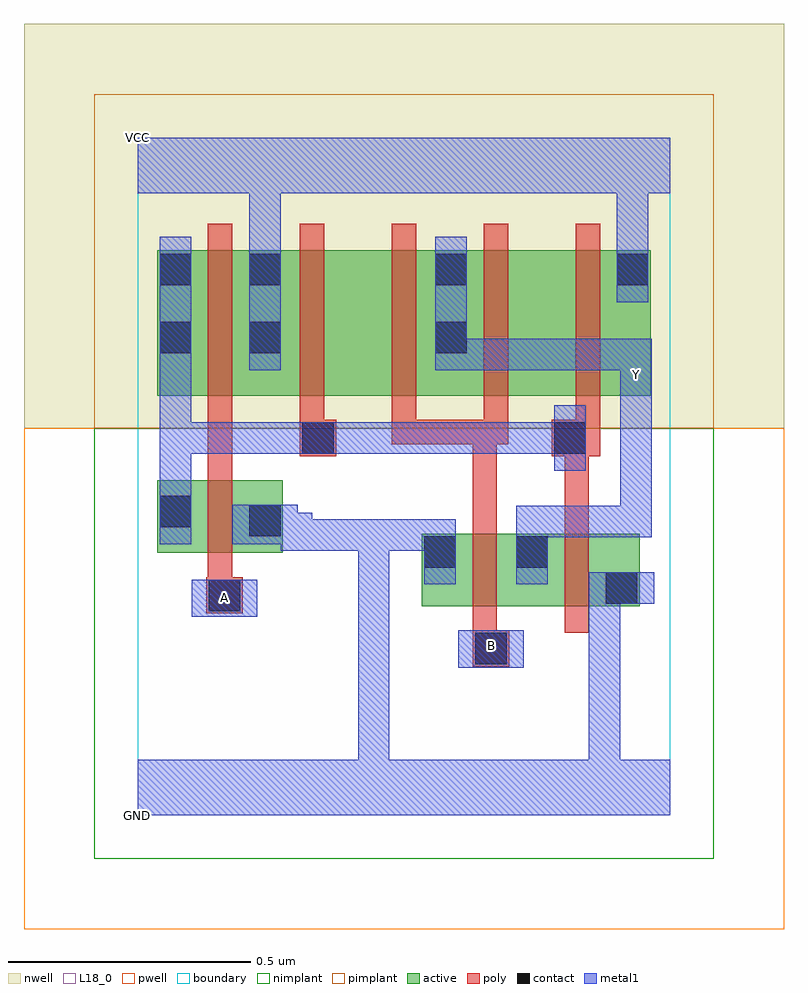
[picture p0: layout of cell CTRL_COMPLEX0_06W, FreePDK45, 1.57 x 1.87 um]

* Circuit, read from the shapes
.subckt CTRL_COMPLEX0_06W A B GND VCC Y
M1 GND A n1 VSUBS nfet w=0.15u l=0.05u
M2 Y B GND VSUBS nfet w=0.15u l=0.05u
M3 GND n1 Y VSUBS nfet w=0.15u l=0.05u
M4 VCC A n1 n2 pfet w=0.3u l=0.05u
M5 n3 n1 VCC n2 pfet w=0.3u l=0.05u
M6 Y B n3 n2 pfet w=0.3u l=0.05u
M7 n4 B Y n2 pfet w=0.3u l=0.05u
M8 VCC n1 n4 n2 pfet w=0.3u l=0.05u
.ends

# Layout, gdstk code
import gdstk
lib = gdstk.Library(unit=1e-6, precision=1e-09)
def R(c, l, rs):  # rectangles x0, y0, x1, y1
    for r in rs: c.add(gdstk.rectangle(r[:2], r[2:], *l))
def A(c, l, x, y, w, h, nx, ny, dx, dy):  # array of equal rectangles
    R(c, l, [(x+i*dx, y+j*dy, x+i*dx+w, y+j*dy+h) for i in range(nx) for j in range(ny)])
active = (1, 0)
pwell = (2, 0)
nwell = (3, 0)
nimplant = (4, 0)
pimplant = (5, 0)
poly = (9, 0)
contact = (10, 0)
metal1 = (11, 0)
L18_0 = (18, 0)
boundary = (235, 0)

ctrl_complex0_06w = lib.new_cell('CTRL_COMPLEX0_06W')
R(ctrl_complex0_06w, active, [(0.587,0.432,0.662,0.582), (0.587,0.432,0.852,0.582), (0.777,0.432,0.852,0.582), (0.777,0.432,1.037,0.582), (0.962,0.432,1.037,0.582), (0.04,0.542,0.115,0.692), (0.04,0.542,0.3,0.692), (0.225,0.542,0.3,0.692), (0.04,0.867,0.3,1.167), (0.04,0.867,0.115,1.165), (0.225,0.867,0.455,1.167), (0.455,0.867,0.685,1.167), (0.61,0.867,0.835,1.167), (0.835,0.867,1.06,1.167), (0.985,0.867,1.06,1.167), (0.225,0.95,0.3,1.165), (0.61,0.95,0.685,1.165)])
R(ctrl_complex0_06w, pwell, [(-0.235,-0.235,1.335,0.8)])
R(ctrl_complex0_06w, nwell, [(-0.235,0.8,1.335,1.635)])
R(ctrl_complex0_06w, nimplant, [(-0.09,-0.09,1.19,0.8)])
R(ctrl_complex0_06w, pimplant, [(-0.09,0.8,1.19,1.49)])
A(ctrl_complex0_06w, poly, 0.335, 0.767, 0.05, 0.095, 4, 1, 0.19, 0)
A(ctrl_complex0_06w, poly, 0.145, 0.812, 0.05, 0.41, 5, 1, 0.19, 0)
R(ctrl_complex0_06w, poly, [(0.692,0.307,0.767,0.382), (0.692,0.332,0.742,0.427), (0.692,0.377,0.742,0.637), (0.882,0.377,0.932,0.637), (0.142,0.417,0.217,0.492), (0.145,0.442,0.195,0.537), (0.145,0.487,0.195,0.747), (0.692,0.587,0.742,0.817), (0.882,0.587,0.932,0.792), (0.145,0.697,0.195,0.792), (0.145,0.742,0.195,0.792), (0.145,0.742,0.195,0.862), (0.335,0.742,0.41,0.817), (0.855,0.742,0.955,0.817), (0.525,0.767,0.575,0.817), (0.525,0.767,0.742,0.817), (0.692,0.767,0.742,0.817), (0.692,0.767,0.742,0.817), (0.692,0.767,0.765,0.817)])
R(ctrl_complex0_06w, contact, [(0.697,0.312,0.762,0.377), (0.147,0.422,0.212,0.487), (0.967,0.437,1.032,0.502), (0.592,0.512,0.657,0.577), (0.782,0.512,0.847,0.577), (0.23,0.577,0.295,0.642), (0.045,0.595,0.11,0.66), (0.34,0.747,0.405,0.812), (0.86,0.747,0.925,0.812), (0.045,0.955,0.11,1.02), (0.23,0.955,0.295,1.02), (0.615,0.955,0.68,1.02), (0.045,1.095,0.11,1.16), (0.23,1.095,0.295,1.16), (0.615,1.095,0.68,1.16), (0.99,1.095,1.055,1.16)])
R(ctrl_complex0_06w, metal1, [(0,0,1.1,0.115), (0.455,0.05,0.52,0.115), (0.455,0.05,0.52,0.115), (0.455,0.05,0.52,0.612), (0.932,0.05,0.997,0.115), (0.932,0.05,0.997,0.115), (0.932,0.05,0.997,0.115), (0.932,0.05,0.997,0.115), (0.932,0.05,0.997,0.115), (0.932,0.05,0.997,0.115), (0.932,0.05,0.997,0.115), (0.932,0.05,0.997,0.115), (0.932,0.05,0.997,0.502), (0.662,0.305,0.797,0.382), (0.112,0.41,0.247,0.487), (0.932,0.437,1.067,0.502), (0.592,0.477,0.657,0.612), (0.782,0.477,0.847,0.64), (0.295,0.547,0.52,0.612), (0.295,0.547,0.36,0.625), (0.455,0.547,0.52,0.612), (0.455,0.547,0.52,0.612), (0.455,0.547,0.52,0.612), (0.455,0.547,0.52,0.612), (0.455,0.547,0.52,0.612), (0.455,0.547,0.52,0.612), (0.455,0.547,0.52,0.612), (0.455,0.547,0.52,0.612), (0.455,0.547,0.52,0.612), (0.455,0.547,0.577,0.612), (0.512,0.547,0.577,0.612), (0.512,0.547,0.657,0.612), (0.045,0.56,0.11,0.695), (0.195,0.56,0.33,0.642), (0.265,0.56,0.36,0.625), (0.782,0.575,1.062,0.64), (0.997,0.575,1.062,0.64), (0.997,0.575,1.062,0.64), (0.997,0.575,1.062,0.64), (0.997,0.575,1.062,0.907), (0.045,0.63,0.11,0.812), (0.86,0.712,0.925,0.847), (0.045,0.747,0.11,0.812), (0.045,0.747,0.11,0.812), (0.045,0.747,0.11,0.812), (0.045,0.747,0.37,0.812), (0.045,0.747,0.11,0.985), (0.305,0.747,0.37,0.812), (0.305,0.747,0.37,0.812), (0.305,0.747,0.44,0.812), (0.375,0.747,0.52,0.812), (0.455,0.747,0.52,0.812), (0.455,0.747,0.577,0.812), (0.512,0.747,0.577,0.812), (0.512,0.747,0.657,0.812), (0.592,0.747,0.657,0.812), (0.592,0.747,0.787,0.812), (0.722,0.747,0.787,0.812), (0.722,0.747,0.86,0.812), (0.795,0.747,0.86,0.812), (0.795,0.747,0.925,0.812), (0.997,0.842,1.062,0.985), (0.045,0.92,0.11,1.195), (0.23,0.92,0.295,1.195), (0.615,0.92,0.787,0.985), (0.615,0.92,0.68,1.195), (0.722,0.92,0.787,0.985), (0.722,0.92,0.86,0.985), (0.795,0.92,0.86,0.985), (0.795,0.92,1.062,0.985), (0.997,0.92,1.062,0.985), (0.997,0.92,1.062,0.985), (0.997,0.92,1.062,0.985), (0.997,0.92,1.062,0.985), (0.99,1.06,1.055,1.195), (0.23,1.13,0.295,1.35), (0.99,1.13,1.055,1.35), (0,1.285,1.1,1.4), (0.23,1.285,0.295,1.35), (0.23,1.285,0.295,1.35), (0.99,1.285,1.055,1.35), (0.99,1.285,1.055,1.35)])
R(ctrl_complex0_06w, L18_0, [(0,0,1.1,0.115), (0.455,0.05,0.52,0.115), (0.455,0.05,0.52,0.115), (0.455,0.05,0.52,0.612), (0.932,0.05,0.997,0.115), (0.932,0.05,0.997,0.115), (0.932,0.05,0.997,0.115), (0.932,0.05,0.997,0.115), (0.932,0.05,0.997,0.115), (0.932,0.05,0.997,0.115), (0.932,0.05,0.997,0.115), (0.932,0.05,0.997,0.115), (0.932,0.05,0.997,0.502), (0.662,0.305,0.797,0.382), (0.697,0.317,0.762,0.382), (0.112,0.41,0.247,0.487), (0.147,0.417,0.212,0.482), (0.932,0.437,1.067,0.502), (0.592,0.477,0.657,0.612), (0.782,0.477,0.847,0.64), (0.295,0.547,0.36,0.625), (0.295,0.547,0.52,0.612), (0.455,0.547,0.52,0.612), (0.455,0.547,0.52,0.612), (0.455,0.547,0.52,0.612), (0.455,0.547,0.52,0.612), (0.455,0.547,0.52,0.612), (0.455,0.547,0.52,0.612), (0.455,0.547,0.52,0.612), (0.455,0.547,0.52,0.612), (0.455,0.547,0.52,0.612), (0.455,0.547,0.577,0.612), (0.512,0.547,0.577,0.612), (0.512,0.547,0.657,0.612), (0.195,0.56,0.33,0.642), (0.265,0.56,0.36,0.625), (0.782,0.575,1.062,0.64), (0.997,0.575,1.062,0.64), (0.997,0.575,1.062,0.64), (0.997,0.575,1.062,0.64), (0.997,0.575,1.062,0.907), (0.997,0.842,1.062,0.985), (0.997,0.877,1.062,0.942), (0.23,0.92,0.295,1.195), (0.615,0.92,0.68,1.195), (0.615,0.92,0.787,0.985), (0.722,0.92,0.787,0.985), (0.722,0.92,0.86,0.985), (0.795,0.92,0.86,0.985), (0.795,0.92,1.062,0.985), (0.997,0.92,1.062,0.985), (0.997,0.92,1.062,0.985), (0.997,0.92,1.062,0.985), (0.997,0.92,1.062,0.985), (0.99,1.06,1.055,1.195), (0.23,1.13,0.295,1.35), (0.99,1.13,1.055,1.35), (0,1.285,1.1,1.4), (0.23,1.285,0.295,1.35), (0.23,1.285,0.295,1.35), (0.99,1.285,1.055,1.35), (0.99,1.285,1.055,1.35)])
R(ctrl_complex0_06w, boundary, [(0,0,1.1,1.4)])
ctrl_complex0_06w.add(gdstk.Label('A', (0.18,0.45), layer=11, texttype=0))
ctrl_complex0_06w.add(gdstk.Label('B', (0.73,0.35), layer=11, texttype=0))
ctrl_complex0_06w.add(gdstk.Label('Y', (1.03,0.91), layer=11, texttype=0))
ctrl_complex0_06w.add(gdstk.Label('VCC', (0,1.4), layer=11, texttype=0))
ctrl_complex0_06w.add(gdstk.Label('GND', (0,0), layer=11, texttype=0))

lib.write_gds('CTRL_COMPLEX0_06W.gds')
